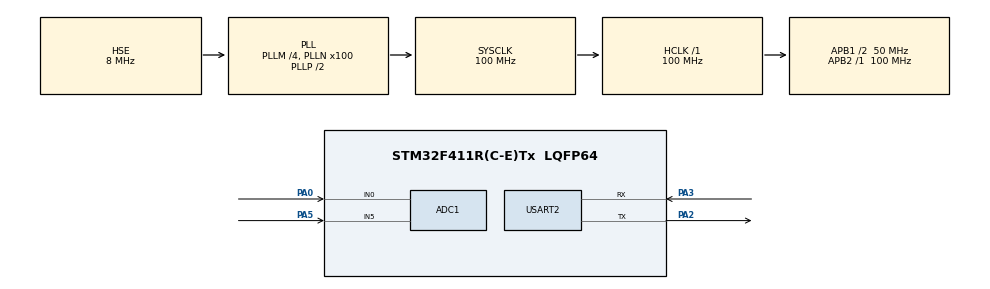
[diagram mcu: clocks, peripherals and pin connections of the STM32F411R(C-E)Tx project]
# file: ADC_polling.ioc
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ADC1.Channel-1\#ChannelRegularConversion=ADC_CHANNEL_5
ADC1.Channel-2\#ChannelRegularConversion=ADC_CHANNEL_0
ADC1.NbrOfConversion=2
ADC1.NbrOfConversionFlag=1
ADC1.Rank-1\#ChannelRegularConversion=1
ADC1.Rank-2\#ChannelRegularConversion=2
ADC1.SamplingTime-1\#ChannelRegularConversion=ADC_SAMPLETIME_3CYCLES
ADC1.SamplingTime-2\#ChannelRegularConversion=ADC_SAMPLETIME_3CYCLES
ADC1.master=1
Mcu.Family=STM32F4
Mcu.Name=STM32F411R(C-E)Tx
Mcu.Package=LQFP64
NVIC.PriorityGroup=NVIC_PRIORITYGROUP_4
PA0-WKUP.Signal=ADCx_IN0
PA13.Mode=Serial_Wire
PA13.Signal=SYS_JTMS-SWDIO
PA14.Mode=Serial_Wire
PA14.Signal=SYS_JTCK-SWCLK
PA2.Mode=Asynchronous
PA2.Signal=USART2_TX
PA3.Mode=Asynchronous
PA3.Signal=USART2_RX
PA5.Signal=ADCx_IN5
PH0\ -\ OSC_IN.Mode=HSE-External-Oscillator
PH0\ -\ OSC_IN.Signal=RCC_OSC_IN
PH1\ -\ OSC_OUT.Mode=HSE-External-Oscillator
PH1\ -\ OSC_OUT.Signal=RCC_OSC_OUT
ProjectManager.HeapSize=0x200
ProjectManager.StackSize=0x400
ProjectManager.TargetToolchain=STM32CubeIDE
RCC.48MHZClocksFreq_Value=50000000
RCC.AHBFreq_Value=100000000
RCC.APB1CLKDivider=RCC_HCLK_DIV2
RCC.APB1Freq_Value=50000000
RCC.APB1TimFreq_Value=100000000
RCC.APB2Freq_Value=100000000
RCC.APB2TimFreq_Value=100000000
RCC.CortexFreq_Value=100000000
RCC.HCLKFreq_Value=100000000
RCC.HSE_VALUE=8000000
RCC.HSI_VALUE=16000000
RCC.LSE_VALUE=32768
RCC.PLLM=4
RCC.PLLN=100
RCC.PLLSourceVirtual=RCC_PLLSOURCE_HSE
RCC.SYSCLKFreq_VALUE=100000000
RCC.SYSCLKSource=RCC_SYSCLKSOURCE_PLLCLK
RCC.VCOOutputFreq_Value=200000000
SH.ADCx_IN0.0=ADC1_IN0,IN0
SH.ADCx_IN5.0=ADC1_IN5,IN5
USART2.VirtualMode=VM_ASYNC
board=custom

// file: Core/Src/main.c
/* USER CODE BEGIN Header */
/**
  ******************************************************************************
  * @file           : main.c
  * @brief          : Main program body
  ******************************************************************************
  * @attention
  *
  * Copyright (c) 2024 STMicroelectronics.
  * All rights reserved.
  *
  * This software is licensed under terms that can be found in the LICENSE file
  * in the root directory of this software component.
  * If no LICENSE file comes with this software, it is provided AS-IS.
  *
  ******************************************************************************
  */
/* USER CODE END Header */
#include "main.h"
#include "adc.h"
#include "usart.h"
#include "gpio.h"

/* USER CODE BEGIN Includes */

#include <stdio.h>

/* USER CODE END Includes */

/* USER CODE BEGIN PM */

int _write(int file, unsigned char *p, int len)
{
  HAL_StatusTypeDef status = HAL_UART_Transmit(&huart2, p, len, 100);
  return (status == HAL_OK ? len : 0);
}

/* USER CODE END PM */

/* USER CODE BEGIN PV */
  uint16_t adcValuex;
  uint16_t adcValuey;
  float adcVoltagex;
  float adcVoltagey;

/* USER CODE END PV */

void SystemClock_Config(void);

int main(void)
{

  /* MCU Configuration--------------------------------------------------------*/

  /* Reset of all peripherals, Initializes the Flash interface and the Systick. */
  HAL_Init();

  /* Configure the system clock */
  SystemClock_Config();

  /* Initialize all configured peripherals */
  MX_GPIO_Init();
  MX_ADC1_Init();
  MX_USART2_UART_Init();

  /* Infinite loop */
  /* USER CODE BEGIN WHILE */
  while (1)
  {
    HAL_ADC_Start(&hadc1);
    HAL_ADC_PollForConversion(&hadc1, 400);
    adcValuex = HAL_ADC_GetValue(&hadc1);
    adcVoltagex = 5*((float)adcValuex/4095);
    printf("adcValuex-> %d\r\n",adcValuex);
    printf("adcVoltagex -> %1.2f\r\n", adcVoltagex);
    HAL_Delay(500);

    /* USER CODE END WHILE */

  }
}

void SystemClock_Config(void)
{
  RCC_OscInitTypeDef RCC_OscInitStruct = {0};
  RCC_ClkInitTypeDef RCC_ClkInitStruct = {0};

  /** Configure the main internal regulator output voltage
  */
  __HAL_RCC_PWR_CLK_ENABLE();
  __HAL_PWR_VOLTAGESCALING_CONFIG(PWR_REGULATOR_VOLTAGE_SCALE1);

  /** Initializes the RCC Oscillators according to the specified parameters
  * in the RCC_OscInitTypeDef structure.
  */
  RCC_OscInitStruct.OscillatorType = RCC_OSCILLATORTYPE_HSE;
  RCC_OscInitStruct.HSEState = RCC_HSE_ON;
  RCC_OscInitStruct.PLL.PLLState = RCC_PLL_ON;
  RCC_OscInitStruct.PLL.PLLSource = RCC_PLLSOURCE_HSE;
  RCC_OscInitStruct.PLL.PLLM = 4;
  RCC_OscInitStruct.PLL.PLLN = 100;
  RCC_OscInitStruct.PLL.PLLP = RCC_PLLP_DIV2;
  RCC_OscInitStruct.PLL.PLLQ = 4;
  if (HAL_RCC_OscConfig(&RCC_OscInitStruct) != HAL_OK)
  {
    Error_Handler();
  }

  /** Initializes the CPU, AHB and APB buses clocks
  */
  RCC_ClkInitStruct.ClockType = RCC_CLOCKTYPE_HCLK|RCC_CLOCKTYPE_SYSCLK
                              |RCC_CLOCKTYPE_PCLK1|RCC_CLOCKTYPE_PCLK2;
  RCC_ClkInitStruct.SYSCLKSource = RCC_SYSCLKSOURCE_PLLCLK;
  RCC_ClkInitStruct.AHBCLKDivider = RCC_SYSCLK_DIV1;
  RCC_ClkInitStruct.APB1CLKDivider = RCC_HCLK_DIV2;
  RCC_ClkInitStruct.APB2CLKDivider = RCC_HCLK_DIV1;

  if (HAL_RCC_ClockConfig(&RCC_ClkInitStruct, FLASH_LATENCY_3) != HAL_OK)
  {
    Error_Handler();
  }
}

void Error_Handler(void)
{
  __disable_irq();
  while (1)
  {
  }
}
